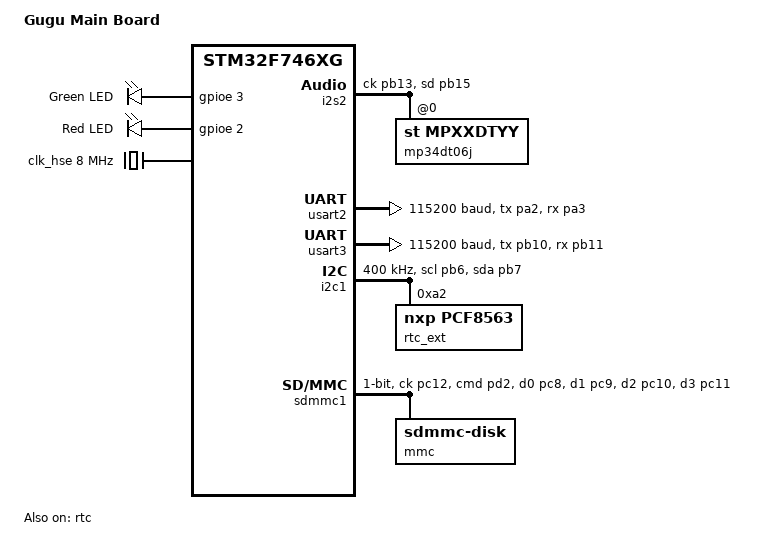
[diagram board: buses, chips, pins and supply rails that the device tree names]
/dts-v1/;
#include <st/f7/stm32f746Xg.dtsi>
#include <st/f7/stm32f746zgtx-pinctrl.dtsi>
#include <zephyr/dt-bindings/input/input-event-codes.h>

/ {
    model = "Gugu Main Board";
    compatible = "gugu,main_board";

    chosen {
        zephyr,sram = &sram0;
		zephyr,flash = &flash0;
		zephyr,dtcm = &dtcm;
    };

    leds: leds {
        compatible = "gpio-leds";
        
        green_led: d303 {
            gpios = <&gpioe 3 GPIO_ACTIVE_HIGH>;
			label = "Green LED";
        };

        red_led: d304 {
            gpios = <&gpioe 2 GPIO_ACTIVE_HIGH>;
            label = "Red LED";
        };
    };

    soc {
        i2s2: i2s@40003800 {
            compatible = "st,stm32-i2s";
            #address-cells = <1>;
            #size-cells = <0>;
            reg = <0x40003800 0x400>;
            clocks = <&rcc STM32_CLOCK_BUS_APB1 0x00004000>, <&rcc STM32_SRC_PLLI2S_R I2S_SEL(0)>;
            interrupts = <36 5>;
            dmas = <&dma1 4 0 0x400 0x3
				    &dma1 3 0 0x400 0x3>;
			dma-names = "tx", "rx";
            pinctrl-0 = <&i2s2_ck_pb13 &i2s2_sd_pb15>;
            pinctrl-names = "default";
            status = "okay";

            mp34dt06j: mp34dt06j@0{
                compatible = "st,mpxxdtyy";
                status = "okay";
                reg = <0x0>;
            };
        
        };
    };

    clocks {
		plli2s: plli2s {
			#clock-cells = <0>;
			compatible = "st,stm32f4-plli2s-clock";
            mul-n = <192>;
            div-r = <5>;
            clocks = <&clk_hse>;
            clock-names = "plli2s";
			status = "okay";
		};
	};
};

&clk_lsi {
	status = "okay";
};

&clk_hse {
	hse-bypass;
	clock-frequency = <DT_FREQ_M(8)>; /* 8MHz clock */
	status = "okay";
};

&rcc {
	clocks = <&pll>;
	clock-frequency = <DT_FREQ_M(216)>;
	ahb-prescaler = <1>;
	apb1-prescaler = <4>;
	apb2-prescaler = <2>;
};

&pll {
	div-m = <8>;
	mul-n = <432>;
	div-p = <2>;
	div-q = <9>;
	clocks = <&clk_hse>;
	status = "okay";
};

&dma1 {
	status = "okay";
};

// Debug UART
&usart2 {
    status = "okay";
    pinctrl-0 = <&usart2_tx_pa2 &usart2_rx_pa3>;
    pinctrl-names = "default";
    current-speed = <115200>;
};

// NCP UART
&usart3 {
    status = "okay";
    pinctrl-0 = <&usart3_tx_pb10 &usart3_rx_pb11>;
    pinctrl-names = "default";
    current-speed = <115200>;
};

&i2c1 {
	pinctrl-0 = <&i2c1_scl_pb6 &i2c1_sda_pb7>;
	pinctrl-names = "default";
	status = "okay";
	clock-frequency = <I2C_BITRATE_FAST>;

    rtc_ext: pcf8563@a2 {
        compatible = "nxp,pcf8563";
        status = "okay";
        reg = <0xa2>;
    };
};

&sdmmc1 {
    status = "okay";
    bus-width = <1>;
    pinctrl-names = "default";
    pinctrl-0 = <&sdmmc1_ck_pc12 
                &sdmmc1_cmd_pd2 
                &sdmmc1_d0_pc8 
                &sdmmc1_d1_pc9 
                &sdmmc1_d2_pc10
                &sdmmc1_d3_pc11>;

    mmc {
        compatible = "zephyr,sdmmc-disk";
        status = "okay";
    };
};

// Internal RTC - for testing only
&rtc {
	clocks = <&rcc STM32_CLOCK_BUS_APB1 0x10000000>,
		 <&rcc STM32_SRC_LSI RTC_SEL(2)>;
	status = "okay";
};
